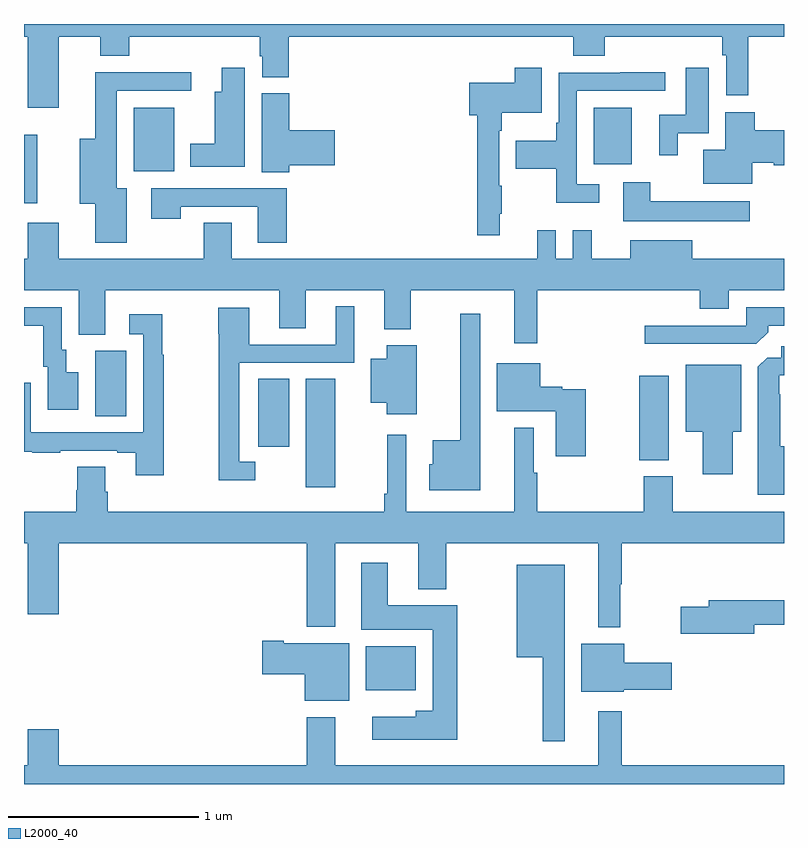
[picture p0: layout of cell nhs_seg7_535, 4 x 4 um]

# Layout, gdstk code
import gdstk
lib = gdstk.Library(unit=1e-6, precision=1e-09)
def R(c, l, rs):  # rectangles x0, y0, x1, y1
    for r in rs: c.add(gdstk.rectangle(r[:2], r[2:], *l))
def P(c, l, *ps):  # polygons
    for p in ps: c.add(gdstk.Polygon(p, *l))
L2000_40 = (2000, 40)

nhs_seg7_535 = lib.new_cell('nhs_seg7_535')
R(nhs_seg7_535, L2000_40, [(154.799,1014.494,155.062,1014.724), (154.484,1015.563,154.639,1016.132), (156.239,1015.705,156.394,1016.149), (154.232,1015.776,154.396,1016.132), (153.374,1015.936,153.538,1016.28), (153,1017.057,153.07,1017.416), (153.578,1017.224,153.79,1017.559), (155.999,1017.263,156.199,1017.559)])
P(nhs_seg7_535, L2000_40, [(153.184,1017.932),(153.401,1017.932),(153.401,1017.833),(153.554,1017.833),(153.554,1017.932),(154.241,1017.932),(154.241,1017.831),(154.253,1017.831),(154.253,1017.721),(154.394,1017.721),(154.394,1017.932),(155.891,1017.932),(155.891,1017.833),(156.056,1017.833),(156.056,1017.932),(156.676,1017.932),(156.676,1017.836),(156.696,1017.836),(156.696,1017.624),(156.812,1017.624),(156.812,1017.932),(157,1017.932),(157,1018),(153,1018),(153,1017.932),(153.02,1017.932),(153.02,1017.558),(153.184,1017.558)],
  [(156.442,1017.426),(156.604,1017.426),(156.604,1017.769),(156.482,1017.769),(156.482,1017.522),(156.344,1017.522),(156.344,1017.309),(156.442,1017.309)],
  [(155.504,1017.001),(155.515,1017.001),(155.515,1017.149),(155.502,1017.149),(155.502,1017.437),(155.515,1017.437),(155.515,1017.533),(155.725,1017.533),(155.725,1017.769),(155.582,1017.769),(155.582,1017.691),(155.343,1017.691),(155.343,1017.521),(155.386,1017.521),(155.386,1016.889),(155.504,1016.889)],
  [(154.162,1017.769),(154.04,1017.769),(154.04,1017.643),(154.004,1017.643),(154.004,1017.37),(153.875,1017.37),(153.875,1017.248),(154.162,1017.248)],
  [(156.028,1017.156),(155.91,1017.156),(155.91,1017.648),(156.376,1017.648),(156.376,1017.746),(156.139,1017.746),(156.139,1017.744),(155.814,1017.744),(155.814,1017.481),(155.802,1017.481),(155.802,1017.385),(155.587,1017.385),(155.587,1017.238),(155.802,1017.238),(155.802,1017.059),(156.028,1017.059)],
  [(153.541,1017.136),(153.487,1017.136),(153.487,1017.648),(153.88,1017.648),(153.88,1017.746),(153.374,1017.746),(153.374,1017.397),(153.293,1017.397),(153.293,1017.053),(153.374,1017.053),(153.374,1016.85),(153.541,1016.85)],
  [(154.397,1017.257),(154.636,1017.257),(154.636,1017.44),(154.397,1017.44),(154.397,1017.636),(154.25,1017.636),(154.25,1017.22),(154.397,1017.22)],
  [(156.832,1017.269),(156.947,1017.269),(156.947,1017.257),(157,1017.257),(157,1017.44),(156.845,1017.44),(156.845,1017.535),(156.692,1017.535),(156.692,1017.337),(156.575,1017.337),(156.575,1017.158),(156.832,1017.158)],
  [(156.82,1017.067),(156.295,1017.067),(156.295,1017.166),(156.155,1017.166),(156.155,1016.963),(156.82,1016.963)],
  [(154.382,1017.135),(153.669,1017.135),(153.669,1016.976),(153.825,1016.976),(153.825,1017.039),(154.229,1017.039),(154.229,1016.85),(154.382,1016.85)],
  [(155.701,1016.6),(156.557,1016.6),(156.557,1016.501),(156.709,1016.501),(156.709,1016.6),(157,1016.6),(157,1016.764),(156.517,1016.764),(156.517,1016.863),(156.191,1016.863),(156.191,1016.764),(155.987,1016.764),(155.987,1016.914),(155.889,1016.914),(155.889,1016.764),(155.799,1016.764),(155.799,1016.914),(155.702,1016.914),(155.702,1016.764),(154.093,1016.764),(154.093,1016.954),(153.946,1016.954),(153.946,1016.764),(153.184,1016.764),(153.184,1016.953),(153.02,1016.953),(153.02,1016.764),(153,1016.764),(153,1016.6),(153.287,1016.6),(153.287,1016.365),(153.427,1016.365),(153.427,1016.6),(154.343,1016.6),(154.343,1016.398),(154.483,1016.398),(154.483,1016.6),(154.895,1016.6),(154.895,1016.394),(155.035,1016.394),(155.035,1016.6),(155.579,1016.6),(155.579,1016.319),(155.701,1016.319)],
  [(154.216,1015.695),(154.134,1015.695),(154.134,1016.217),(154.738,1016.217),(154.738,1016.515),(154.64,1016.515),(154.64,1016.313),(154.186,1016.313),(154.186,1016.506),(154.022,1016.506),(154.022,1016.37),(154.026,1016.37),(154.026,1015.598),(154.216,1015.598)],
  [(156.917,1016.378),(156.917,1016.412),(157,1016.412),(157,1016.508),(156.801,1016.508),(156.801,1016.412),(156.267,1016.412),(156.267,1016.316),(156.855,1016.316)],
  [(153.286,1016.167),(153.223,1016.167),(153.223,1016.286),(153.198,1016.286),(153.198,1016.508),(153,1016.508),(153,1016.412),(153.101,1016.412),(153.101,1016.196),(153.125,1016.196),(153.125,1015.971),(153.286,1015.971)],
  [(155.401,1016.476),(155.297,1016.476),(155.297,1015.81),(155.15,1015.81),(155.15,1015.683),(155.132,1015.683),(155.132,1015.547),(155.401,1015.547)],
  [(153.736,1016.26),(153.728,1016.26),(153.728,1016.473),(153.555,1016.473),(153.555,1016.367),(153.627,1016.367),(153.627,1015.851),(153.036,1015.851),(153.036,1016.113),(153,1016.113),(153,1015.749),(153.043,1015.749),(153.043,1015.743),(153.191,1015.743),(153.191,1015.755),(153.491,1015.755),(153.491,1015.743),(153.587,1015.743),(153.587,1015.626),(153.736,1015.626)],
  [(155.068,1016.308),(154.91,1016.308),(154.91,1016.239),(154.826,1016.239),(154.826,1016.006),(154.91,1016.006),(154.91,1015.947),(155.068,1015.947)],
  [(157,1015.777),(156.979,1015.777),(156.979,1016.051),(156.975,1016.051),(156.975,1016.151),(157,1016.151),(157,1016.305),(156.986,1016.305),(156.986,1016.244),(156.912,1016.244),(156.863,1016.195),(156.863,1015.523),(157,1015.523)],
  [(155.956,1016.077),(155.832,1016.077),(155.832,1016.09),(155.716,1016.09),(155.716,1016.215),(155.489,1016.215),(155.489,1015.961),(155.798,1015.961),(155.798,1015.725),(155.956,1015.725)],
  [(156.73,1015.853),(156.775,1015.853),(156.775,1016.206),(156.482,1016.206),(156.482,1015.853),(156.572,1015.853),(156.572,1015.629),(156.73,1015.629)],
  [(156.137,1015.052),(156.145,1015.052),(156.145,1015.268),(157,1015.268),(157,1015.432),(156.415,1015.432),(156.415,1015.62),(156.263,1015.62),(156.263,1015.432),(155.701,1015.432),(155.701,1015.637),(155.683,1015.637),(155.683,1015.876),(155.579,1015.876),(155.579,1015.432),(155.013,1015.432),(155.013,1015.837),(154.912,1015.837),(154.912,1015.528),(154.897,1015.528),(154.897,1015.432),(153.44,1015.432),(153.44,1015.538),(153.427,1015.538),(153.427,1015.67),(153.28,1015.67),(153.28,1015.545),(153.275,1015.545),(153.275,1015.432),(153,1015.432),(153,1015.268),(153.02,1015.268),(153.02,1014.894),(153.184,1014.894),(153.184,1015.268),(154.487,1015.268),(154.487,1014.827),(154.639,1014.827),(154.639,1015.268),(155.075,1015.268),(155.075,1015.025),(155.223,1015.025),(155.223,1015.268),(156.023,1015.268),(156.023,1014.824),(156.137,1014.824)],
  [(155.28,1014.94),(154.915,1014.94),(154.915,1015.165),(154.775,1015.165),(154.775,1014.812),(155.15,1014.812),(155.15,1014.385),(155.063,1014.385),(155.063,1014.355),(154.833,1014.355),(154.833,1014.233),(155.28,1014.233)],
  [(155.845,1015.153),(155.594,1015.153),(155.594,1014.668),(155.731,1014.668),(155.731,1014.225),(155.845,1014.225)],
  [(156.844,1014.838),(157,1014.838),(157,1014.967),(156.605,1014.967),(156.605,1014.933),(156.456,1014.933),(156.456,1014.791),(156.844,1014.791)],
  [(154.711,1014.742),(154.366,1014.742),(154.366,1014.755),(154.254,1014.755),(154.254,1014.577),(154.478,1014.577),(154.478,1014.437),(154.711,1014.437)],
  [(156.156,1014.496),(156.409,1014.496),(156.409,1014.638),(156.16,1014.638),(156.16,1014.739),(155.933,1014.739),(155.933,1014.485),(156.156,1014.485)],
  [(157,1014.1),(156.145,1014.1),(156.145,1014.382),(156.023,1014.382),(156.023,1014.1),(154.639,1014.1),(154.639,1014.352),(154.487,1014.352),(154.487,1014.1),(153.184,1014.1),(153.184,1014.289),(153.02,1014.289),(153.02,1014.1),(153,1014.1),(153,1014),(157,1014)])

lib.write_gds('nhs_seg7_535.gds')
